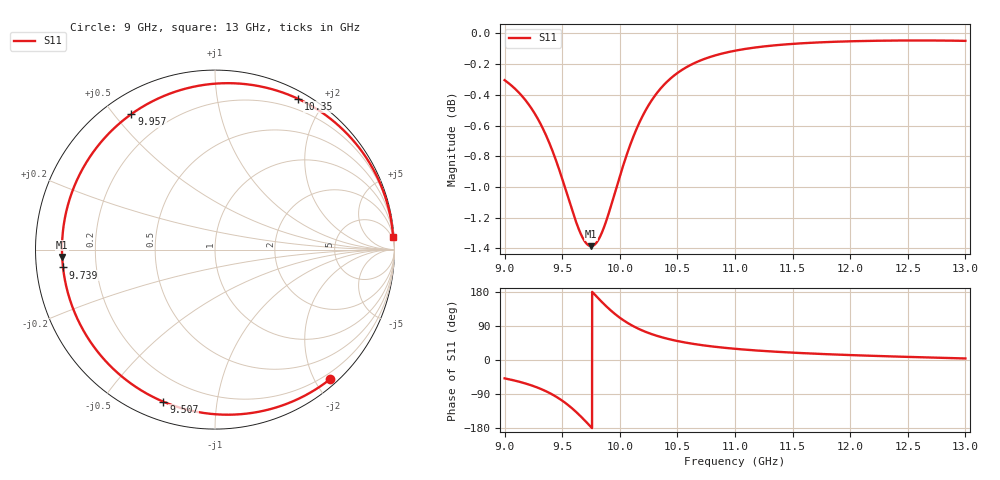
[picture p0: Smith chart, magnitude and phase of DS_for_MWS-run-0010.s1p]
! TOUCHSTONE file generated by CST DESIGN STUDIO
! Date and time: Tue Feb  4 17:25:20 2025
! Project name: C:\Work\MatlabApps\UnitCellOptimizationMatlab\CST\unitcell.cst
! Tree item: Tasks\Sweep1\SPara1\S-Parameters
! Header version: 2024
! Port assignment regex: !\s*Touchstone port\s*([0-9]+)\s*=\s*(CST MWS port|CST DES external port|CST DES block port)\s*(.+)\s* \(\"(.*)\"\)(\s*mode\s*([0-9]+))?.*
! Touchstone port assignment:
! Touchstone port 1 = CST DES external port 1 ("")
# GHz S MA R 50
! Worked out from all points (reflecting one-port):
!   4001 points, 9 GHz to 13 GHz, reference 50 ohm
!   lowest |S11| = -1.4 dB at 9.751 GHz (marker M1), VSWR 12.56, Z = 3.98 - j1.22 ohm
!   phase of S11 starts at -48 deg and turns -307 deg over the sweep
!   S11 on the Smith chart (normalised r, x): 9 GHz: 0.10, -2.22; 9.507 GHz: 0.08, -0.71; 9.739 GHz: 0.08, -0.06; 9.957 GHz: 0.08, +0.56; 10.35 GHz: 0.08, +1.69; 13 GHz: 2, +28
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9  0.9656 -48.5
9.14  0.9552 -58.4
9.269  0.9407 -70.9
9.4  0.9188 -88.7
9.453  0.9076 -97.9
9.5  0.8967 -107.3
9.507  0.895 -108.8
9.564  0.8811 -122.0
9.618  0.8687 -136.3
9.683  0.8572 -155.5
9.739  0.8527 -173.3
9.751  0.8525 -177.2
9.795  0.8545 168.6
9.841  0.8606 154.1
9.9  0.8729 136.7
9.957  0.8872 121.7
10  0.8983 111.6
10.065  0.9142 98.3
10.139  0.9297 85.8
10.241  0.9464 72.3
10.352  0.9593 61.1
10.5  0.9708 50.1
10.718  0.9806 39.0
11  0.9872 29.6
11.5  0.9922 19.4
12  0.9942 13.0
12.5  0.9948 8.2
13  0.9945 4.0
